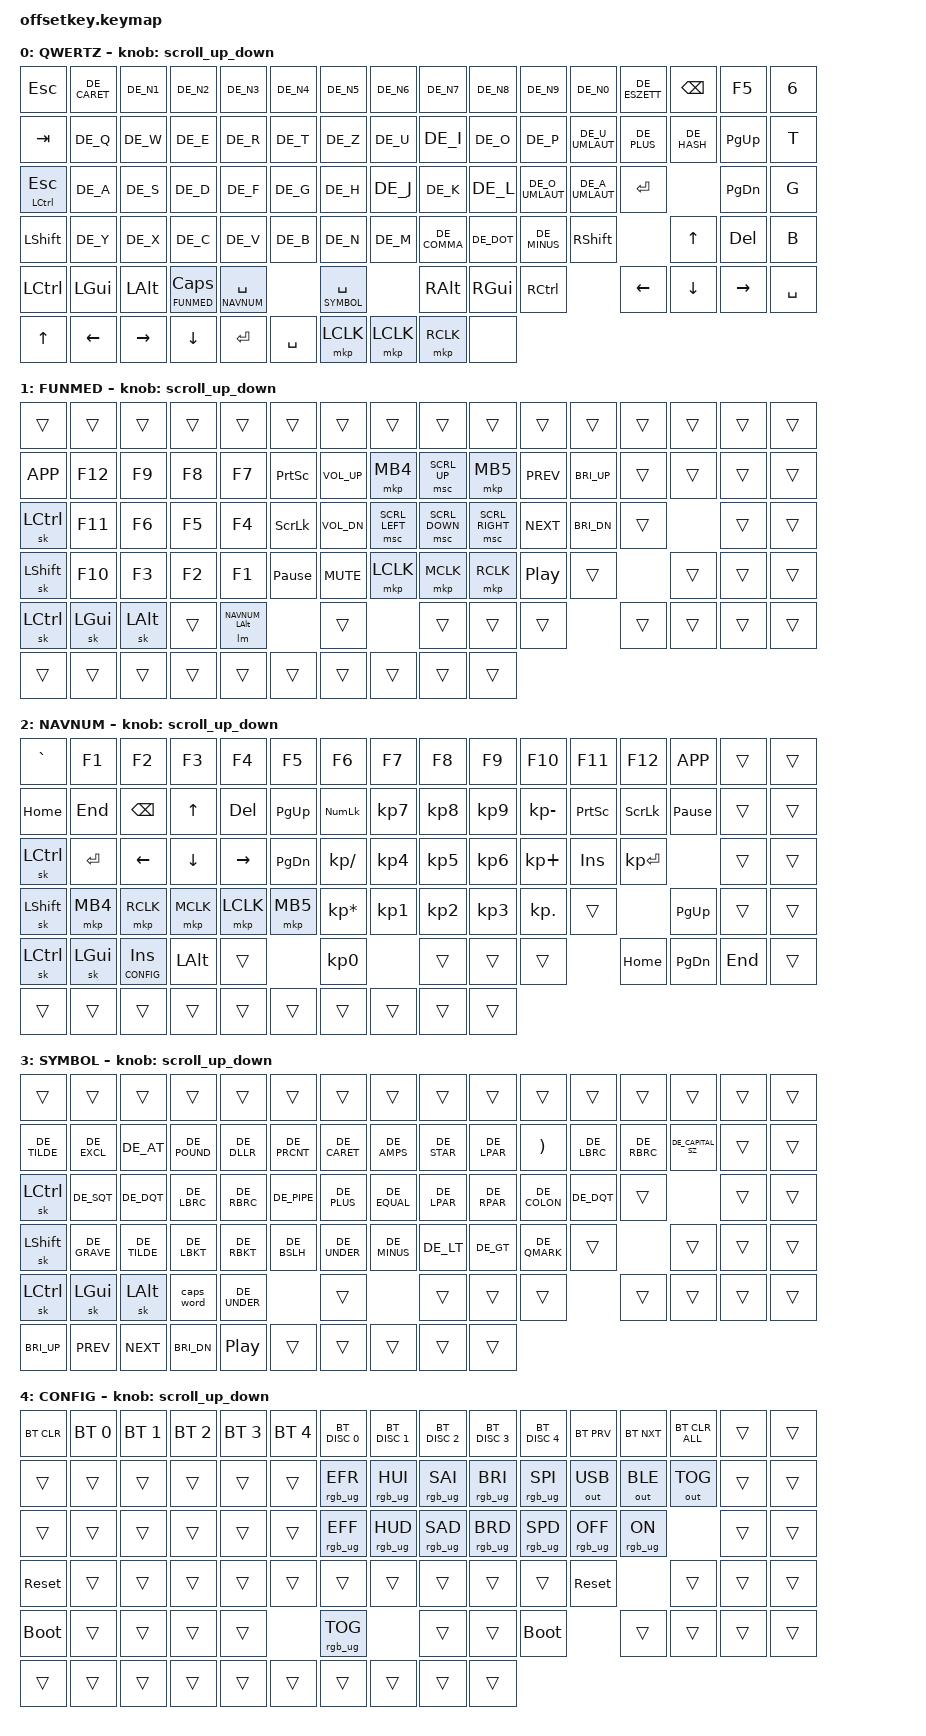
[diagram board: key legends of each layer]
#include <zephyr/dt-bindings/input/input-event-codes.h>
#include <behaviors/toggle_io.dtsi>
#include <behaviors/on_io.dtsi>
#include <behaviors/off_io.dtsi>
#include <behaviors.dtsi>
#include <dt-bindings/zmk/bt.h>
#include <dt-bindings/zmk/keys.h>
#include <dt-bindings/zmk/pointing.h>
#include <dt-bindings/zmk/rgb.h>
#include <dt-bindings/zmk/outputs.h>
#include <dt-bindings/zmk/ext_power.h>
#include <dt-bindings/zmk/mouse.h>
#include <locale/keys_de.h>

#define QWERTZ 0
#define FUNMED 1
#define NAVNUM 2
#define SYMBOL 3
#define CONFIG 4

#define ZMK_POINTING_DEFAULT_MOVE_VAL 1500
#define ZMK_POINTING_DEFAULT_SCRL_VAL 320

&mt { quick-tap-ms = <200>; };
&lt {
    quick-tap-ms = <200>;
    flavor = "hold-preferred";
};
&sk { release-after-ms = <2000>; quick-release; };

/ {
    macros {
    lm:  lm  {
        compatible = "zmk,behavior-macro-two-param";
        #binding-cells = <2>;
        wait-ms = <0>;
        tap-ms = <0>;
        bindings = <&macro_param_1to1>, <&macro_press &mo MACRO_PLACEHOLDER>, <&macro_param_2to1>,
            <&macro_press &kp MACRO_PLACEHOLDER>, <&macro_pause_for_release>, <&macro_param_2to1>,
            <&macro_release &kp MACRO_PLACEHOLDER>, <&macro_param_1to1>, <&macro_release &mo MACRO_PLACEHOLDER>;
        };
    };

    behaviors {
        scroll_up_down: behavior_sensor_rotate_mouse_wheel_up_down {
            compatible = "zmk,behavior-sensor-rotate";
            #sensor-binding-cells = <0>;
            bindings = <&msc SCRL_UP>, <&msc SCRL_DOWN>;
            tap-ms = <20>; // Scroll tap duration
        };
    };

    keymap {
        compatible = "zmk,keymap";

        QWERTY {
            label = "QWERTZ";
            sensor-bindings = <&scroll_up_down>;
            bindings = <
&kp ESC         &kp DE_CARET    &kp DE_N1       &kp DE_N2       &kp DE_N3       &kp DE_N4       &kp DE_N5       &kp DE_N6       &kp DE_N7       &kp DE_N8       &kp DE_N9       &kp DE_N0       &kp DE_ESZETT   &kp BSPC        &kp F5          &kp N6
&kp TAB         &kp DE_Q        &kp DE_W        &kp DE_E        &kp DE_R        &kp DE_T        &kp DE_Z        &kp DE_U        &kp DE_I        &kp DE_O        &kp DE_P        &kp DE_U_UMLAUT &kp DE_PLUS     &kp DE_HASH     &kp PG_UP       &kp T
&mt LCTRL ESC   &kp DE_A        &kp DE_S        &kp DE_D        &kp DE_F        &kp DE_G        &kp DE_H        &kp DE_J        &kp DE_K        &kp DE_L        &kp DE_O_UMLAUT &kp DE_A_UMLAUT &kp ENTER                       &kp PG_DN       &kp G
&kp LSHFT       &kp DE_Y        &kp DE_X        &kp DE_C        &kp DE_V        &kp DE_B        &kp DE_N        &kp DE_M        &kp DE_COMMA    &kp DE_DOT      &kp DE_MINUS    &kp RSHFT                       &kp UP          &kp DEL         &kp B
&kp LCTRL       &kp LGUI        &kp LALT        &lt FUNMED CAPS &lt NAVNUM SPACE                &lt SYMBOL SPACE                &kp RALT        &kp RGUI        &kp RCTRL                       &kp LEFT        &kp DOWN        &kp RIGHT       &kp SPACE

&kp UP_ARROW  &kp LEFT_ARROW  &kp RIGHT_ARROW  &kp DOWN_ARROW  &kp ENTER  &kp SPACE             &mkp LCLK  &mkp LCLK  &mkp RCLK      &none
            >;
        };

        FUNMED {
            label = "FUNMED";
            sensor-bindings = <&scroll_up_down>;
            bindings = <
&trans          &trans          &trans          &trans          &trans          &trans          &trans          &trans          &trans          &trans          &trans          &trans          &trans          &trans          &trans          &trans
&kp K_APP       &kp F12         &kp F9          &kp F8          &kp F7          &kp PSCRN       &kp C_VOL_UP    &mkp MB4        &msc SCRL_UP    &mkp MB5        &kp C_PREV      &kp C_BRI_UP    &trans          &trans          &trans          &trans
&sk LCTRL       &kp F11         &kp F6          &kp F5          &kp F4          &kp SLCK        &kp C_VOL_DN    &msc SCRL_LEFT  &msc SCRL_DOWN  &msc SCRL_RIGHT &kp C_NEXT      &kp C_BRI_DN    &trans                          &trans          &trans
&sk LSHFT       &kp F10         &kp F3          &kp F2          &kp F1          &kp PAUSE_BREAK &kp C_MUTE      &mkp LCLK       &mkp MCLK       &mkp RCLK       &kp C_PP        &trans                          &trans          &trans          &trans
&sk LCTRL       &sk LGUI        &sk LALT        &trans          &lm NAVNUM LALT                 &trans                          &trans          &trans          &trans                          &trans          &trans          &trans          &trans
&trans          &trans          &trans          &trans          &trans          &trans          &trans          &trans          &trans          &trans
            >;
        };

        NAVNUM {
            label = "NAVNUM";
            sensor-bindings = <&scroll_up_down>;
            bindings = <
&kp GRAVE       &kp F1          &kp F2          &kp F3          &kp F4          &kp F5          &kp F6          &kp F7          &kp F8          &kp F9          &kp F10         &kp F11         &kp F12         &kp K_APP       &trans          &trans
&kp HOME        &kp END         &kp BSPC        &kp UP          &kp DEL         &kp PG_UP       &kp KP_NLCK     &kp KP_N7       &kp KP_N8       &kp KP_N9       &kp KP_MINUS    &kp PSCRN       &kp SLCK        &kp PAUSE_BREAK &trans          &trans
&sk LCTRL       &kp ENTER       &kp LEFT        &kp DOWN        &kp RIGHT       &kp PG_DN       &kp KP_DIVIDE   &kp KP_N4       &kp KP_N5       &kp KP_N6       &kp KP_PLUS     &kp INS         &kp KP_ENTER                    &trans          &trans
&sk LSHFT       &mkp MB4        &mkp RCLK       &mkp MCLK       &mkp LCLK       &mkp MB5        &kp KP_MULTIPLY &kp KP_N1       &kp KP_N2       &kp KP_N3       &kp KP_DOT      &trans                          &kp PG_UP       &trans          &trans
&sk LCTRL       &sk LGUI        &lt CONFIG INS  &kp LALT        &trans                          &kp KP_N0                       &trans          &trans          &trans                          &kp HOME        &kp PG_DN       &kp END         &trans
&trans          &trans          &trans          &trans          &trans          &trans          &trans          &trans          &trans          &trans
            >;
        };

        SYMBOL {
            label =  "SYMBOL";
            sensor-bindings = <&scroll_up_down>;
            bindings = <
&trans          &trans          &trans          &trans          &trans          &trans          &trans          &trans          &trans          &trans          &trans          &trans          &trans          &trans                &trans          &trans
&kp DE_TILDE    &kp DE_EXCL     &kp DE_AT       &kp DE_POUND    &kp DE_DLLR     &kp DE_PRCNT    &kp DE_CARET    &kp DE_AMPS     &kp DE_STAR     &kp DE_LPAR     &kp RPAR        &kp DE_LBRC     &kp DE_RBRC     &kp DE_CAPITAL_SZ     &trans          &trans
&sk LCTRL       &kp DE_SQT      &kp DE_DQT      &kp DE_LBRC     &kp DE_RBRC     &kp DE_PIPE     &kp DE_PLUS     &kp DE_EQUAL    &kp DE_LPAR     &kp DE_RPAR     &kp DE_COLON    &kp DE_DQT      &trans                                &trans          &trans
&sk LSHFT       &kp DE_GRAVE    &kp DE_TILDE    &kp DE_LBKT     &kp DE_RBKT     &kp DE_BSLH     &kp DE_UNDER    &kp DE_MINUS    &kp DE_LT       &kp DE_GT       &kp DE_QMARK    &trans                          &trans                &trans          &trans
&sk LCTRL       &sk LGUI        &sk LALT        &caps_word      &kp DE_UNDER                    &trans                          &trans          &trans          &trans                          &trans          &trans                &trans          &trans
&kp C_BRI_UP    &kp C_PREV      &kp C_NEXT      &kp C_BRI_DN    &kp C_PP        &trans          &trans          &trans          &trans          &trans
            >;
        };

        CONFIG {
            label = "CONFIG";
            sensor-bindings = <&scroll_up_down>;
            bindings = <
&bt BT_CLR      &bt BT_SEL 0    &bt BT_SEL 1    &bt BT_SEL 2    &bt BT_SEL 3    &bt BT_SEL 4    &bt BT_DISC 0   &bt BT_DISC 1   &bt BT_DISC 2   &bt BT_DISC 3   &bt BT_DISC 4   &bt BT_PRV      &bt BT_NXT      &bt BT_CLR_ALL  &trans          &trans
&trans          &trans          &trans          &trans          &trans          &trans          &rgb_ug RGB_EFR &rgb_ug RGB_HUI &rgb_ug RGB_SAI &rgb_ug RGB_BRI &rgb_ug RGB_SPI &out OUT_USB    &out OUT_BLE    &out OUT_TOG    &trans          &trans
&trans          &trans          &trans          &trans          &trans          &trans          &rgb_ug RGB_EFF &rgb_ug RGB_HUD &rgb_ug RGB_SAD &rgb_ug RGB_BRD &rgb_ug RGB_SPD &rgb_ug RGB_OFF &rgb_ug RGB_ON                  &trans          &trans
&sys_reset      &trans          &trans          &trans          &trans          &trans          &trans          &trans          &trans          &trans          &trans          &sys_reset                      &trans          &trans          &trans
&bootloader     &trans          &trans          &trans          &trans                          &rgb_ug RGB_TOG                 &trans          &trans          &bootloader                     &trans          &trans          &trans          &trans
&trans          &trans          &trans          &trans          &trans          &trans          &trans          &trans          &trans          &trans
            >;
        };
    };
};
